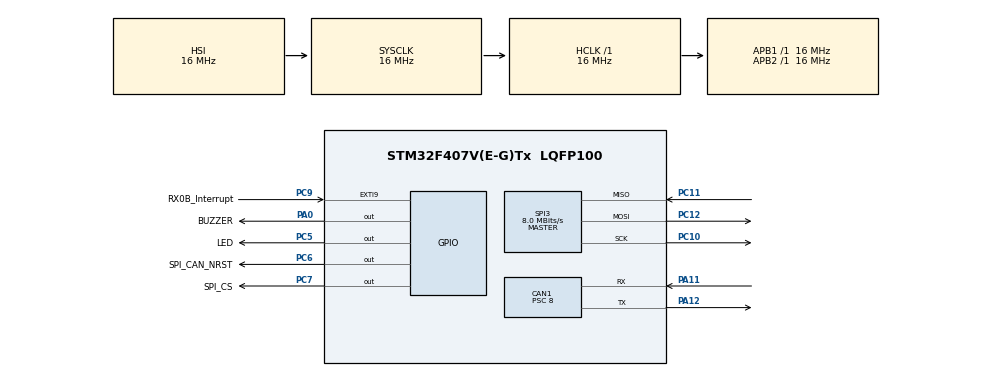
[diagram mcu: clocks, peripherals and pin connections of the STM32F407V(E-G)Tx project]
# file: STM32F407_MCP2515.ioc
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CAN1.BS1=CAN_BS1_2TQ
CAN1.CalculateBaudRate=500000
CAN1.CalculateTimeBit=2000
CAN1.CalculateTimeQuantum=500.0
CAN1.Prescaler=8
Mcu.Family=STM32F4
Mcu.Name=STM32F407V(E-G)Tx
Mcu.Package=LQFP100
NVIC.CAN1_RX0_IRQn=true\:0\:0\:false\:false\:true\:true\:true\:true
NVIC.EXTI9_5_IRQn=true\:0\:0\:false\:false\:true\:true\:true\:true
NVIC.PriorityGroup=NVIC_PRIORITYGROUP_4
PA0-WKUP.GPIO_Label=BUZZER
PA0-WKUP.Signal=GPIO_Output
PA11.Mode=CAN_Activate
PA11.Signal=CAN1_RX
PA12.Mode=CAN_Activate
PA12.Signal=CAN1_TX
PA13.Mode=Serial_Wire
PA13.Signal=SYS_JTMS-SWDIO
PA14.Mode=Serial_Wire
PA14.Signal=SYS_JTCK-SWCLK
PC10.Mode=Full_Duplex_Master
PC10.Signal=SPI3_SCK
PC11.Mode=Full_Duplex_Master
PC11.Signal=SPI3_MISO
PC12.Mode=Full_Duplex_Master
PC12.Signal=SPI3_MOSI
PC5.GPIO_Label=LED
PC5.Signal=GPIO_Output
PC6.GPIO_Label=SPI_CAN_NRST
PC6.Signal=GPIO_Output
PC7.GPIO_Label=SPI_CS
PC7.Signal=GPIO_Output
PC9.GPIO_Label=RX0B_Interrupt
PC9.GPIO_ModeDefaultEXTI=GPIO_MODE_IT_FALLING
PC9.Signal=GPXTI9
ProjectManager.HeapSize=0x200
ProjectManager.StackSize=0x400
ProjectManager.TargetToolchain=STM32CubeIDE
RCC.AHBFreq_Value=16000000
RCC.APB1Freq_Value=16000000
RCC.APB2Freq_Value=16000000
RCC.CortexFreq_Value=16000000
RCC.HSE_VALUE=25000000
RCC.HSI_VALUE=16000000
RCC.LSE_VALUE=32768
RCC.SYSCLKFreq_VALUE=16000000
RCC.VCOOutputFreq_Value=192000000
SPI3.CalculateBaudRate=8.0 MBits/s
SPI3.Direction=SPI_DIRECTION_2LINES
SPI3.Mode=SPI_MODE_MASTER
SPI3.VirtualType=VM_MASTER
board=custom

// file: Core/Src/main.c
/* USER CODE BEGIN Header */
/**
 ******************************************************************************
 * @file           : main.c
 * @brief          : Main program body
 ******************************************************************************
 * @attention
 *
 * Copyright (c) 2022 STMicroelectronics.
 * All rights reserved.
 *
 * This software is licensed under terms that can be found in the LICENSE file
 * in the root directory of this software component.
 * If no LICENSE file comes with this software, it is provided AS-IS.
 *
 ******************************************************************************
 */
/* USER CODE END Header */
#include "main.h"

/* USER CODE BEGIN Includes */
#include "CAN_SPI.h"
//#include "MCP2515.h"
/* USER CODE END Includes */

CAN_HandleTypeDef hcan1;

SPI_HandleTypeDef hspi3;

/* USER CODE BEGIN PV */
CAN_HeaderTypeDef TxMessage;
CAN_HeaderTypeDef RxMessage;

/* USER CODE END PV */

void SystemClock_Config(void);
static void MX_GPIO_Init(void);
static void MX_SPI3_Init(void);
static void MX_CAN1_Init(void);
/* USER CODE BEGIN PFP */
void Buzzer_Trigger(void);

/* USER CODE END PFP */

/* USER CODE BEGIN 0 */
uint8_t Rx_Status = 0;
uint8_t CAN_SPI_RxFlag = 0;

/* USER CODE END 0 */

int main(void)
{

	/* MCU Configuration--------------------------------------------------------*/

	/* Reset of all peripherals, Initializes the Flash interface and the Systick. */
	HAL_Init();

	/* Configure the system clock */
	SystemClock_Config();

	/* Initialize all configured peripherals */
	MX_GPIO_Init();
	MX_SPI3_Init();
	MX_CAN1_Init();
	/* USER CODE BEGIN 2 */
	HAL_GPIO_WritePin(LED_GPIO_Port, LED_Pin, GPIO_PIN_RESET);

	/* Buzzer Trigger */
	Buzzer_Trigger();

	/* Initialize the SPI CAN */
	/* Two Bit Rate options:
	 * 500Kbps -> _500KBPS
	 * 250Kbps -> _250KBPS
	 */
	if(CANSPI_Initialize(_500KBPS) != 1) {
		Error_Handler();
	}

	/* Enable RX pins interrupts */
	/* Two options:
	 * Enable Interrupts on RX0B and RX1B pins -> _Enable
	 * Disable Interrupts on RX0B and RX1B pins -> _Disable
	 */
	CANSPI_RxInterruptPins(_Enable);

	/* USER CODE END 2 */

	/* Infinite loop */
	while (1)
	{

		/* USER CODE BEGIN 3 */
		if (CAN_SPI_RxFlag) {
			CAN_GetRxMessage(&RxMessage);
			TxMessage.frame.IDType = RxMessage.frame.IDType;
			TxMessage.frame.ID = 0x5D;
			TxMessage.frame.DLC= 8;
			TxMessage.frame.Data0 = 0;
			TxMessage.frame.Data1 = 1;
			TxMessage.frame.Data2 = 2;
			TxMessage.frame.Data3 = 3;
			TxMessage.frame.Data4 = 4;
			TxMessage.frame.Data5 = 5;
			TxMessage.frame.Data6 = 6;
			TxMessage.frame.Data7 = 7;
			CAN_AddTxMessage(&TxMessage);
			CAN_SPI_RxFlag = 0;
		}
	}
	/* USER CODE END 3 */
}

void SystemClock_Config(void)
{
	RCC_OscInitTypeDef RCC_OscInitStruct = {0};
	RCC_ClkInitTypeDef RCC_ClkInitStruct = {0};

	/** Configure the main internal regulator output voltage
	 */
	__HAL_RCC_PWR_CLK_ENABLE();
	__HAL_PWR_VOLTAGESCALING_CONFIG(PWR_REGULATOR_VOLTAGE_SCALE1);

	/** Initializes the RCC Oscillators according to the specified parameters
	 * in the RCC_OscInitTypeDef structure.
	 */
	RCC_OscInitStruct.OscillatorType = RCC_OSCILLATORTYPE_HSI;
	RCC_OscInitStruct.HSIState = RCC_HSI_ON;
	RCC_OscInitStruct.HSICalibrationValue = RCC_HSICALIBRATION_DEFAULT;
	RCC_OscInitStruct.PLL.PLLState = RCC_PLL_NONE;
	if (HAL_RCC_OscConfig(&RCC_OscInitStruct) != HAL_OK)
	{
		Error_Handler();
	}

	/** Initializes the CPU, AHB and APB buses clocks
	 */
	RCC_ClkInitStruct.ClockType = RCC_CLOCKTYPE_HCLK|RCC_CLOCKTYPE_SYSCLK
			|RCC_CLOCKTYPE_PCLK1|RCC_CLOCKTYPE_PCLK2;
	RCC_ClkInitStruct.SYSCLKSource = RCC_SYSCLKSOURCE_HSI;
	RCC_ClkInitStruct.AHBCLKDivider = RCC_SYSCLK_DIV1;
	RCC_ClkInitStruct.APB1CLKDivider = RCC_HCLK_DIV1;
	RCC_ClkInitStruct.APB2CLKDivider = RCC_HCLK_DIV1;

	if (HAL_RCC_ClockConfig(&RCC_ClkInitStruct, FLASH_LATENCY_0) != HAL_OK)
	{
		Error_Handler();
	}
}

static void MX_CAN1_Init(void)
{

	hcan1.Instance = CAN1;
	hcan1.Init.Prescaler = 8;
	hcan1.Init.Mode = CAN_MODE_NORMAL;
	hcan1.Init.SyncJumpWidth = CAN_SJW_1TQ;
	hcan1.Init.TimeSeg1 = CAN_BS1_2TQ;
	hcan1.Init.TimeSeg2 = CAN_BS2_1TQ;
	hcan1.Init.TimeTriggeredMode = DISABLE;
	hcan1.Init.AutoBusOff = DISABLE;
	hcan1.Init.AutoWakeUp = DISABLE;
	hcan1.Init.AutoRetransmission = DISABLE;
	hcan1.Init.ReceiveFifoLocked = DISABLE;
	hcan1.Init.TransmitFifoPriority = DISABLE;
	if (HAL_CAN_Init(&hcan1) != HAL_OK)
	{
		Error_Handler();
	}

}

static void MX_SPI3_Init(void)
{

	/* SPI3 parameter configuration*/
	hspi3.Instance = SPI3;
	hspi3.Init.Mode = SPI_MODE_MASTER;
	hspi3.Init.Direction = SPI_DIRECTION_2LINES;
	hspi3.Init.DataSize = SPI_DATASIZE_8BIT;
	hspi3.Init.CLKPolarity = SPI_POLARITY_LOW;
	hspi3.Init.CLKPhase = SPI_PHASE_1EDGE;
	hspi3.Init.NSS = SPI_NSS_SOFT;
	hspi3.Init.BaudRatePrescaler = SPI_BAUDRATEPRESCALER_2;
	hspi3.Init.FirstBit = SPI_FIRSTBIT_MSB;
	hspi3.Init.TIMode = SPI_TIMODE_DISABLE;
	hspi3.Init.CRCCalculation = SPI_CRCCALCULATION_DISABLE;
	hspi3.Init.CRCPolynomial = 10;
	if (HAL_SPI_Init(&hspi3) != HAL_OK)
	{
		Error_Handler();
	}

}

static void MX_GPIO_Init(void)
{
	GPIO_InitTypeDef GPIO_InitStruct = {0};

	/* GPIO Ports Clock Enable */
	__HAL_RCC_GPIOA_CLK_ENABLE();
	__HAL_RCC_GPIOC_CLK_ENABLE();

	/*Configure GPIO pin Output Level */
	HAL_GPIO_WritePin(BUZZER_GPIO_Port, BUZZER_Pin, GPIO_PIN_RESET);

	/*Configure GPIO pin Output Level */
	HAL_GPIO_WritePin(GPIOC, LED_Pin|SPI_CAN_NRST_Pin|SPI_CS_Pin, GPIO_PIN_RESET);

	/*Configure GPIO pin : BUZZER_Pin */
	GPIO_InitStruct.Pin = BUZZER_Pin;
	GPIO_InitStruct.Mode = GPIO_MODE_OUTPUT_PP;
	GPIO_InitStruct.Pull = GPIO_NOPULL;
	GPIO_InitStruct.Speed = GPIO_SPEED_FREQ_LOW;
	HAL_GPIO_Init(BUZZER_GPIO_Port, &GPIO_InitStruct);

	/*Configure GPIO pins : LED_Pin SPI_CAN_NRST_Pin SPI_CS_Pin */
	GPIO_InitStruct.Pin = LED_Pin|SPI_CAN_NRST_Pin|SPI_CS_Pin;
	GPIO_InitStruct.Mode = GPIO_MODE_OUTPUT_PP;
	GPIO_InitStruct.Pull = GPIO_NOPULL;
	GPIO_InitStruct.Speed = GPIO_SPEED_FREQ_LOW;
	HAL_GPIO_Init(GPIOC, &GPIO_InitStruct);

	/*Configure GPIO pin : RX0B_Interrupt_Pin */
	GPIO_InitStruct.Pin = RX0B_Interrupt_Pin;
	GPIO_InitStruct.Mode = GPIO_MODE_IT_FALLING;
	GPIO_InitStruct.Pull = GPIO_NOPULL;
	HAL_GPIO_Init(RX0B_Interrupt_GPIO_Port, &GPIO_InitStruct);

	/* EXTI interrupt init*/
	HAL_NVIC_SetPriority(EXTI9_5_IRQn, 0, 0);
	HAL_NVIC_EnableIRQ(EXTI9_5_IRQn);

}

/* USER CODE BEGIN 4 */
void HAL_GPIO_EXTI_Callback(uint16_t GPIO_Pin) {
	/* Prevent unused argument(s) compilation warning */
	UNUSED(GPIO_Pin);
	/* NOTE: This function Should not be modified, when the callback is needed,
           the HAL_GPIO_EXTI_Callback could be implemented in the user file
	 */
	if (GPIO_Pin == RX0B_Interrupt_Pin) {
		HAL_GPIO_TogglePin(LED_GPIO_Port, LED_Pin);
		CAN_SPI_RxFlag = 1;
		CANSPI_RXB0_CLR();
	}
}

void Buzzer_Trigger(void) {
	HAL_GPIO_TogglePin(BUZZER_GPIO_Port, BUZZER_Pin);
	HAL_Delay(50);
	HAL_GPIO_TogglePin(BUZZER_GPIO_Port, BUZZER_Pin);
	HAL_Delay(300);
	HAL_GPIO_TogglePin(BUZZER_GPIO_Port, BUZZER_Pin);
	HAL_Delay(300);
	HAL_GPIO_TogglePin(BUZZER_GPIO_Port, BUZZER_Pin);
	HAL_GPIO_WritePin(BUZZER_GPIO_Port, BUZZER_Pin, GPIO_PIN_RESET);
}
/* USER CODE END 4 */

void Error_Handler(void)
{
	/* USER CODE BEGIN Error_Handler_Debug */
	/* User can add his own implementation to report the HAL error return state */
	__disable_irq();
	while (1)
	{
		HAL_GPIO_WritePin(BUZZER_GPIO_Port, BUZZER_Pin, GPIO_PIN_SET);
		HAL_Delay(1000);
		HAL_GPIO_WritePin(BUZZER_GPIO_Port, BUZZER_Pin, GPIO_PIN_RESET);
	}
	/* USER CODE END Error_Handler_Debug */
}
